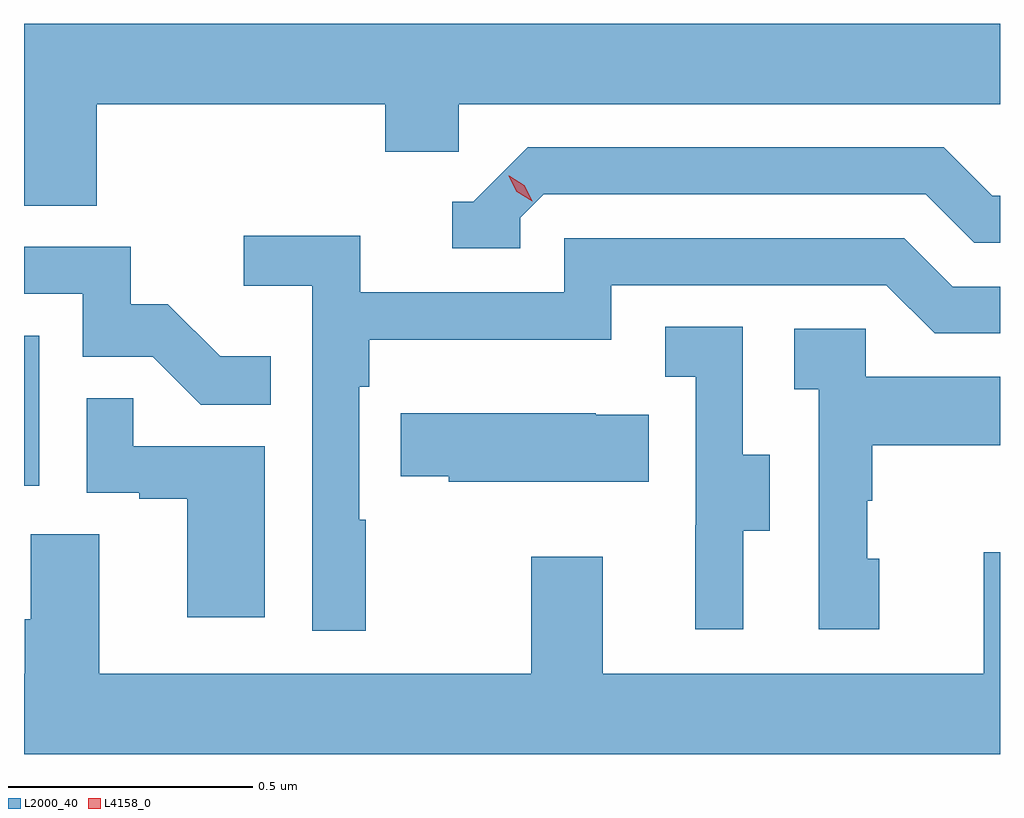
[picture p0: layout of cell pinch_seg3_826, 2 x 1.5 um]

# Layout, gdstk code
import gdstk
lib = gdstk.Library(unit=1e-6, precision=1e-09)
def R(c, l, rs):  # rectangles x0, y0, x1, y1
    for r in rs: c.add(gdstk.rectangle(r[:2], r[2:], *l))
def P(c, l, *ps):  # polygons
    for p in ps: c.add(gdstk.Polygon(p, *l))
L2000_40 = (2000, 40)
L4158_0 = (4158, 0)

pinch_seg3_826 = lib.new_cell('pinch_seg3_826')
R(pinch_seg3_826, L2000_40, [(881.181,726.774,881.212,727.081)])
P(pinch_seg3_826, L2000_40, [(881.33,727.556),(881.921,727.556),(881.921,727.458),(882.072,727.458),(882.072,727.556),(883.181,727.556),(883.181,727.72),(881.181,727.72),(881.181,727.348),(881.33,727.348)],
  [(882.198,727.323),(882.246,727.371),(883.029,727.371),(883.128,727.272),(883.181,727.272),(883.181,727.368),(883.165,727.368),(883.066,727.467),(882.213,727.467),(882.102,727.356),(882.059,727.356),(882.059,727.26),(882.198,727.26)],
  [(881.881,726.704),(881.868,726.704),(881.868,726.977),(881.888,726.977),(881.888,727.073),(882.384,727.073),(882.384,727.185),(882.948,727.185),(883.047,727.086),(883.181,727.086),(883.181,727.182),(883.084,727.182),(882.985,727.281),(882.288,727.281),(882.288,727.17),(881.87,727.17),(881.87,727.286),(881.631,727.286),(881.631,727.184),(881.772,727.184),(881.772,726.477),(881.881,726.477)],
  [(881.687,727.039),(881.583,727.039),(881.476,727.146),(881.4,727.146),(881.4,727.263),(881.181,727.263),(881.181,727.167),(881.301,727.167),(881.301,727.038),(881.445,727.038),(881.543,726.94),(881.687,726.94)],
  [(882.655,726.682),(882.709,726.682),(882.709,726.837),(882.654,726.837),(882.654,727.1),(882.495,727.1),(882.495,726.997),(882.558,726.997),(882.558,726.693),(882.557,726.693),(882.557,726.48),(882.655,726.48)],
  [(882.934,726.624),(882.909,726.624),(882.909,726.743),(882.919,726.743),(882.919,726.857),(883.181,726.857),(883.181,726.997),(882.906,726.997),(882.906,727.095),(882.759,727.095),(882.759,726.971),(882.81,726.971),(882.81,726.48),(882.934,726.48)],
  [(881.674,726.855),(881.405,726.855),(881.405,726.953),(881.31,726.953),(881.31,726.759),(881.417,726.759),(881.417,726.747),(881.516,726.747),(881.516,726.504),(881.674,726.504)],
  [(882.461,726.919),(882.353,726.919),(882.353,726.922),(881.953,726.922),(881.953,726.793),(882.051,726.793),(882.051,726.782),(882.461,726.782)],
  [(883.181,726.637),(883.148,726.637),(883.148,726.388),(882.367,726.388),(882.367,726.628),(882.22,726.628),(882.22,726.388),(881.335,726.388),(881.335,726.674),(881.195,726.674),(881.195,726.5),(881.183,726.5),(881.183,726.388),(881.181,726.388),(881.181,726.224),(883.181,726.224)])
P(pinch_seg3_826, L4158_0, [(882.222,727.357),(882.191,727.376),(882.174,727.408),(882.174,727.409),(882.175,727.409),(882.206,727.39),(882.222,727.358),(882.222,727.357)])

lib.write_gds('pinch_seg3_826.gds')
